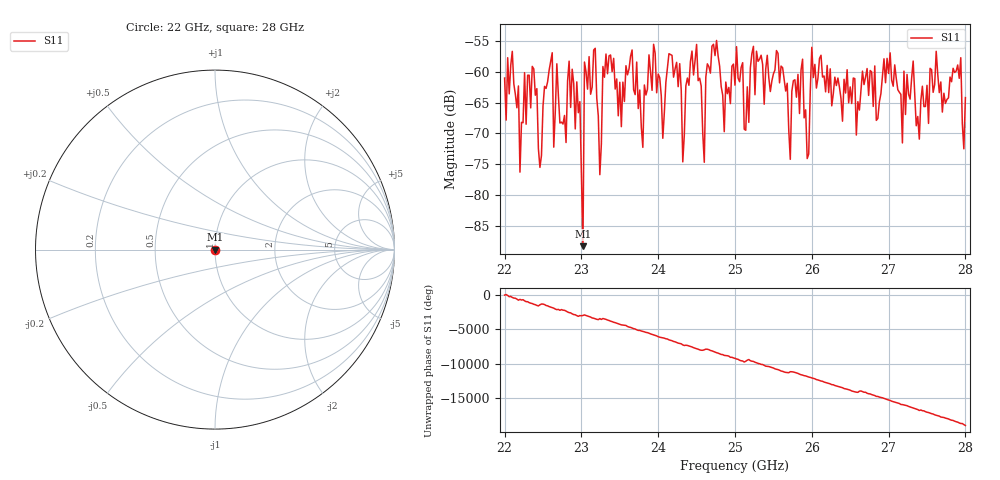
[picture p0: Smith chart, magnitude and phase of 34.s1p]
#  HZ  S  RI  R  50.00
! Rohde & Schwarz ZVA40 4Ports - Version 3.90 - 1145.1110k42 SN: 100403
! Date: 2023-10-04 11:33:10
! Measurement: S12
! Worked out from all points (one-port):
!   301 points, 22 GHz to 28 GHz, reference 50 ohm
!   lowest |S11| = -88.3 dB at 23.02 GHz (marker M1), VSWR 1.00, Z = 50 - j0.00317 ohm
!   |S11| at or under -10 dB: start of sweep to end of sweep
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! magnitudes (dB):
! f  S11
! 22 GHz  -61.0
! 22.18 GHz  -62.3
! 22.2 GHz  -76.3
! 22.26 GHz  -60.1
! 22.46 GHz  -75.5
! 22.62 GHz  -56.9
! 22.76 GHz  -68.5
! 22.94 GHz  -61.6
! 23.02 GHz  -88.3
! 23.04 GHz  -58.4
! 23.18 GHz  -56.2
! 23.24 GHz  -76.7
! 23.28 GHz  -59.1
! 23.5 GHz  -61.7
! 24.26 GHz  -62.4
! 24.32 GHz  -74.6
! 24.5 GHz  -55.6
! 24.6 GHz  -74.7
! 24.7 GHz  -55.8
! 25 GHz  -62.2
! 25.54 GHz  -56.5
! 25.72 GHz  -74.2
! 25.76 GHz  -61.4
! 25.94 GHz  -74.1
! 26 GHz  -56.0
! 26.5 GHz  -62.5
! 27.26 GHz  -63.6
! 28 GHz  -64.2
